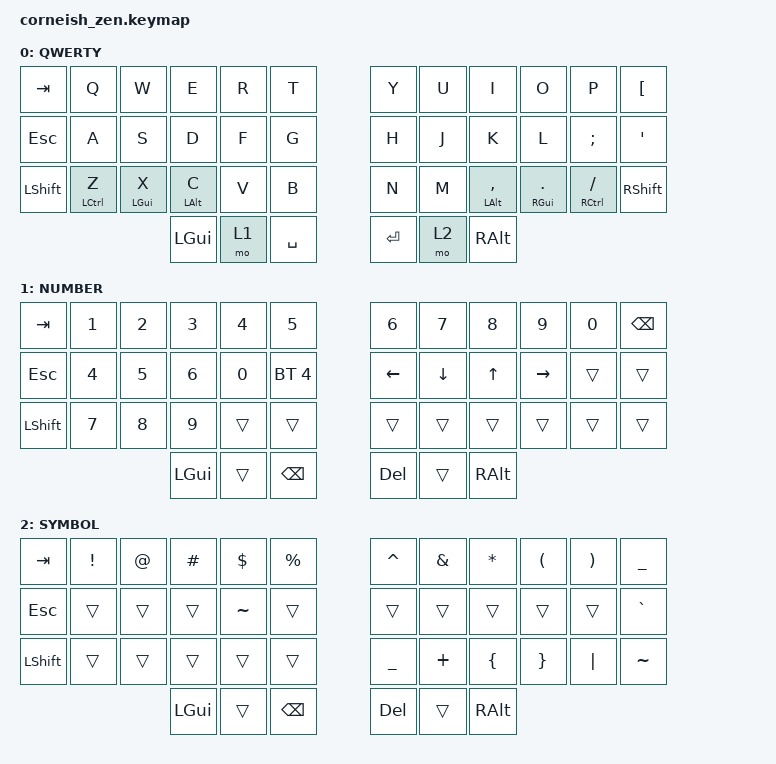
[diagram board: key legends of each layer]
#include <behaviors.dtsi>
#include <dt-bindings/zmk/keys.h>
#include <dt-bindings/zmk/bt.h>

/ {
  chosen {
    zmk,matrix_transform = &default_transform;
    //zmk,matrix_transform = &five_column_transform;
  };
};

/ {
        keymap {
                compatible = "zmk,keymap";

                default_layer {
                        label = "QWERTY";
// -----------------------------------------------------------------------------------------
// |  TAB |  Q  |  W  |  E  |  R  |  T  |   |  Y  |  U   |  I  |  O  |  P  |  Å   |
// |  ESC |  A  |  S  |  D  |  F  |  G  |   |  H  |  J   |  K  |  L  |  Æ  |  Ø   |
// | SHFT |  Z  |  X  |  C  |  V  |  B  |   |  N  |  M   |  ,  |  .  |  /  | SHFT |
//                    | GUI | LWR | SPC |   | ENT | RSE  | ALT |
                        bindings = <
   &kp TAB   &kp Q       &kp W      &kp E      &kp R &kp T       &kp Y   &kp U  &kp I          &kp O        &kp P          &kp LBKT
   &kp ESC   &kp A       &kp S      &kp D      &kp F &kp G       &kp H   &kp J  &kp K          &kp L        &kp SEMI       &kp SQT
   &kp LSHFT &mt LCTRL Z &mt LGUI X &mt LALT C &kp V &kp B       &kp N   &kp M  &mt LALT COMMA &mt RGUI DOT &mt RCTRL FSLH &kp RSHFT
                                    &kp LGUI   &mo 1 &kp SPACE   &kp RET &mo 2  &kp RALT
                        >;
                };
                lower_layer {
                        label = "NUMBER";
// -----------------------------------------------------------------------------------------
// |  TAB |  1  |  2  |  3  |  4  |  5  |   |  6  |  7  |  8  |  9  |  0  | BKSP |
// | BTCLR| BT1 | BT2 | BT3 | BT4 | BT5 |   | LFT | DWN |  UP | RGT |     |      |
// | SHFT |     |     |     |     |     |   |     |     |     |     |     |      |
//                    | GUI |     | SPC |   | ENT |     | ALT |
                        bindings = <
   &kp TAB    &kp N1       &kp N2       &kp N3       &kp N4       &kp N5         &kp N6   &kp N7   &kp N8 &kp N9    &kp N0 &kp BSPC
   &kp ESC    &kp N4       &kp N5       &kp N6       &kp N0       &bt BT_SEL 4   &kp LEFT &kp DOWN &kp UP &kp RIGHT &trans &trans
   &kp LSHFT  &kp N7       &kp N8       &kp N9       &trans       &trans         &trans   &trans   &trans &trans    &trans &trans
                          	            &kp LGUI     &trans       &kp BSPC       &kp DEL  &trans   &kp RALT
                        >;
                };

                raise_layer {
                        label = "SYMBOL";
// -----------------------------------------------------------------------------------------
// |  TAB |  !  |  @  |  #  |  $  |  %  |   |  ^  |  &  |  *  |  (  |  )  | BKSP |
// | CTRL |     |     |     |     |     |   |  -  |  =  |  [  |  ]  |  \  |  `   |
// | SHFT |     |     |     |     |     |   |  _  |  +  |  {  |  }  | "|" |  ~   |
//                    | SPC |   | ENT |     | ALT |
                        bindings = <
   &kp TAB   &kp EXCL  &kp AT    &kp HASH  &kp DLLR  &kp PRCNT &kp CARET &kp AMPS  &kp STAR  &kp LPAR  &kp RPAR  &kp UNDER
   &kp ESC   &trans    &trans    &trans    &kp TILDE &trans    &trans    &trans    &trans    &trans    &trans    &kp GRAVE
   &kp LSHFT &trans    &trans    &trans    &trans    &trans    &kp UNDER &kp PLUS  &kp LBRC  &kp RBRC  &kp PIPE  &kp TILDE
                    	         &kp LGUI  &trans    &kp BSPC  &kp DEL   &trans    &kp RALT
                        >;
                };

        };
};
